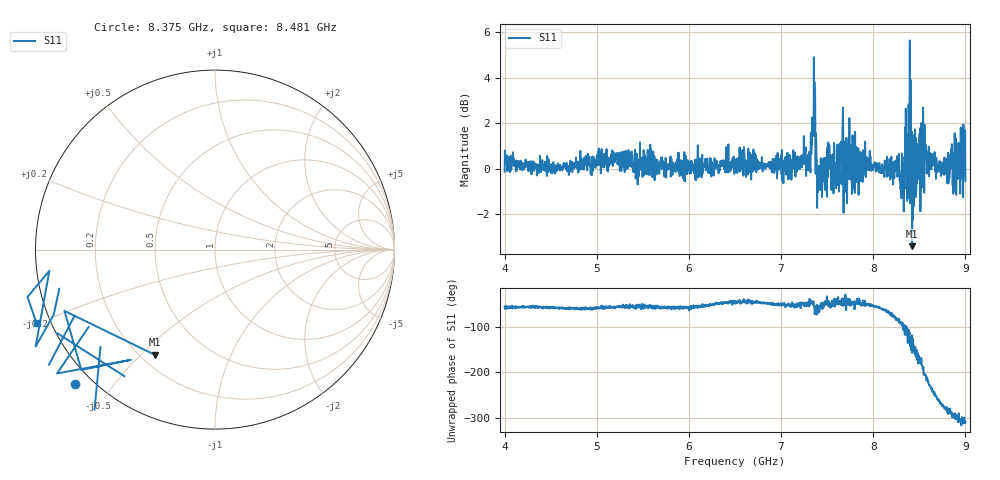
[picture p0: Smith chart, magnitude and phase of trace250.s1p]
! Created with skrf 1.8.0 (http://scikit-rf.org).
# Hz S RI R 50.0
!freq ReS11 ImS11
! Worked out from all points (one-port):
!   1601 points, 4 GHz to 9 GHz, reference 50 ohm
!   lowest |S11| = -3.4 dB at 8.422 GHz (marker M1), VSWR 5.16, Z = 12.8 - j27.5 ohm
!   |S11| at or under -10 dB: nowhere
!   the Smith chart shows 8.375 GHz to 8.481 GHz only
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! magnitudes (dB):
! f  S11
! 4 GHz  -0.1
! 4.625 GHz  -0.1
! 5.25 GHz  -0.1
! 5.875 GHz  0.4
! 6.5 GHz  0.2
! 7.125 GHz  0.3
! 7.241 GHz  0.3
! 7.294 GHz  -0.1
! 7.328 GHz  0.6
! 7.347 GHz  2.1
! 7.362 GHz  3.8
! 7.412 GHz  -0.7
! 7.512 GHz  1.2
! 7.572 GHz  0.3
! 7.662 GHz  0.1
! 7.703 GHz  0.7
! 7.75 GHz  -0.1
! 8.259 GHz  0.5
! 8.316 GHz  0.4
! 8.375 GHz  0.7
! 8.394 GHz  0.4
! 8.406 GHz  1.2
! 8.422 GHz  -3.4
! 8.441 GHz  1.4
! 8.544 GHz  1.5
! 8.722 GHz  0.0
! 8.972 GHz  0.3
! 9 GHz  -0.5
